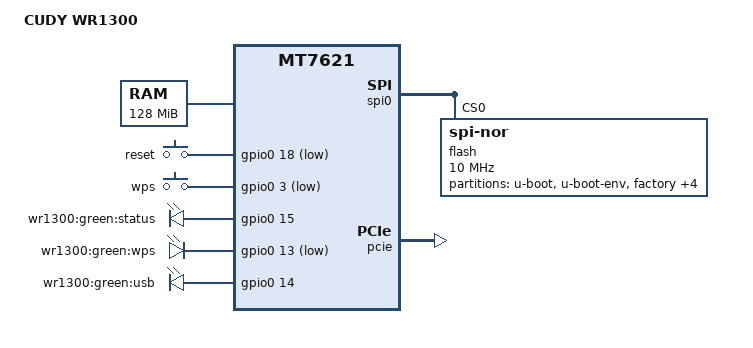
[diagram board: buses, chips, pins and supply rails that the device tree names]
// SPDX-License-Identifier: GPL-2.0-or-later OR MIT
/dts-v1/;

#include "mt7621.dtsi"

#include <dt-bindings/input/input.h>
#include <dt-bindings/gpio/gpio.h>

/ {
	compatible = "cudy,wr1300", "mediatek,mt7621-soc";
	model = "CUDY WR1300";

	memory@0 {
		device_type = "memory";
		reg = <0x0 0x8000000>;
	};

	aliases {
		led-boot = &led_sys;
		led-failsafe = &led_sys;
		led-running = &led_sys;
		led-upgrade = &led_sys;
	};

	chosen {
		bootargs = "console=ttyS0,115200";
	};

	keys {
		compatible = "gpio-keys";

		reset {
			label = "reset";
			gpios = <&gpio0 18 GPIO_ACTIVE_LOW>;
			linux,code = <KEY_RESTART>;
		};

		wps {
			label = "wps";
			gpios = <&gpio0 3 GPIO_ACTIVE_LOW>;
			linux,code = <KEY_WPS_BUTTON>;
		};
	};

	leds {
		compatible = "gpio-leds";

		led_sys: status {
			label = "wr1300:green:status";
			gpios = <&gpio0 15 GPIO_ACTIVE_HIGH>;
		};

		wps {
			label = "wr1300:green:wps";
			gpios = <&gpio0 13 GPIO_ACTIVE_LOW>;
		};

		usb {
			label = "wr1300:green:usb";
			gpios = <&gpio0 14 GPIO_ACTIVE_HIGH>;
			trigger-sources = <&xhci_ehci_port1>, <&ehci_port2>;
			linux,default-trigger = "usbport";
		};
	};
};

&spi0 {
	status = "okay";

	flash@0 {
		compatible = "jedec,spi-nor";
		reg = <0>;
		spi-max-frequency = <10000000>;

		partitions {
			compatible = "fixed-partitions";
			#address-cells = <1>;
			#size-cells = <1>;

			partition@0 {
				label = "u-boot";
				reg = <0x0 0x30000>;
				read-only;
			};

			partition@30000 {
				label = "u-boot-env";
				reg = <0x30000 0x10000>;
				read-only;
			};

			factory: partition@40000 {
				label = "factory";
				reg = <0x40000 0x10000>;
				read-only;
			};

			debug: partition@fd0000 {
				label = "debug";
				reg = <0xfd0000 0x10000>;
				read-only;
			};

			backup: partition@fe0000 {
				label = "backup";
				reg = <0xfe0000 0x10000>;
				read-only;
			};

			bdinfo: partition@ff0000 {
				label = "bdinfo";
				reg = <0xff0000 0x10000>;
				read-only;
			};

			partition@50000 {
				compatible = "denx,uimage";
				label = "firmware";
				reg = <0x50000 0xf80000>;
			};
		};
	};
};

&pcie {
	status = "okay";
};

&pcie0 {
	mt76@0,0 {
		reg = <0x0000 0 0 0 0>;
		mediatek,mtd-eeprom = <&factory 0x0000>;
		mtd-mac-address = <&bdinfo 0xDE00>;
		ieee80211-freq-limit = <2400000 2500000>;

		led {
			led-active-low;
		};
	};
};

&pcie1 {
	mt76@1,0 {
		reg = <0x0000 0 0 0 0>;
		mediatek,mtd-eeprom = <&factory 0x8000>;
		mtd-mac-address = <&bdinfo 0xDE00>;
		mtd-mac-address-increment = <2>;
		ieee80211-freq-limit = <5000000 6000000>;

		led {
			led-sources = <2>;
			led-active-low;
		};
	};
};

&ethernet {
	mtd-mac-address = <&bdinfo 0xDE00>;
	mediatek,portmap = "llllw";
};

&pinctrl {
	state_default: pinctrl0 {
		gpio {
			ralink,group = "wdt", "rgmii2", "jtag";
			ralink,function = "gpio";
		};
	};
};
